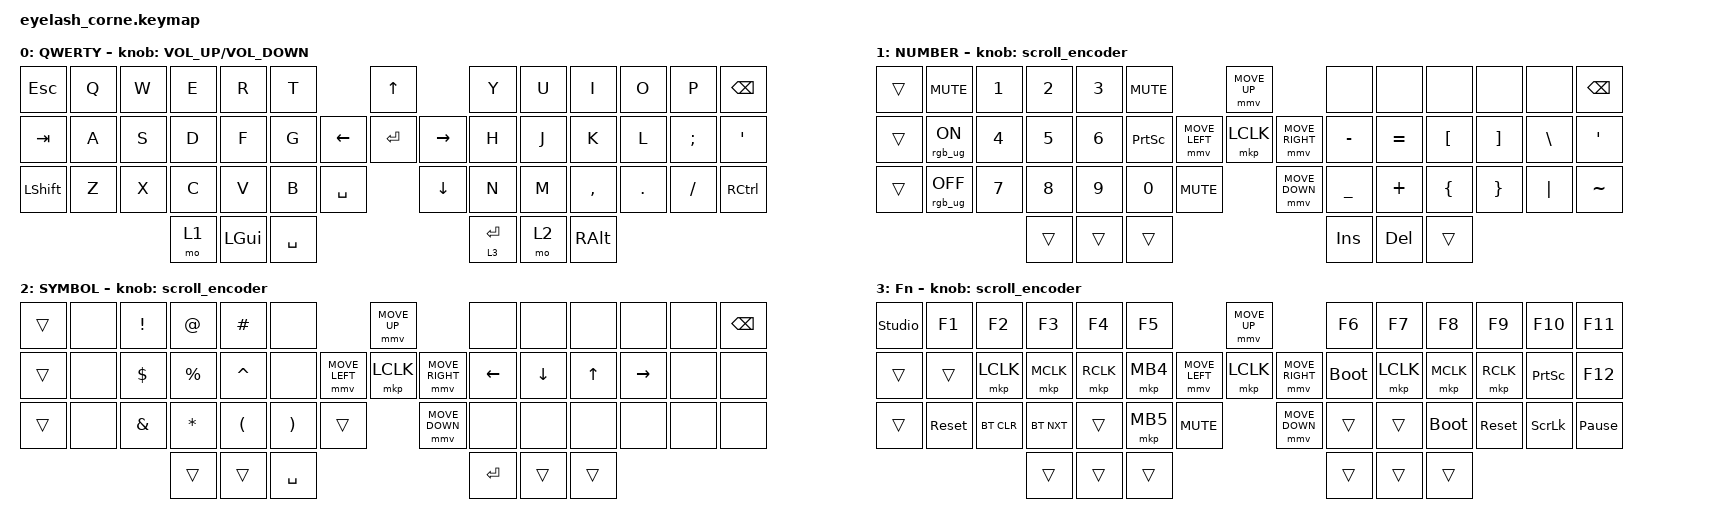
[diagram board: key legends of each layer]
#define ZMK_POINTING_DEFAULT_MOVE_VAL 1200  // 600
#define ZMK_POINTING_DEFAULT_SCRL_VAL 25   // 10

#include <input/processors.dtsi>
#include <zephyr/dt-bindings/input/input-event-codes.h>
#include <behaviors.dtsi>
#include <dt-bindings/zmk/bt.h>
#include <dt-bindings/zmk/keys.h>
#include <dt-bindings/zmk/pointing.h>
#include <dt-bindings/zmk/rgb.h>

&mmv_input_listener { input-processors = <&zip_xy_scaler 2 1>; };

&msc_input_listener { input-processors = <&zip_scroll_scaler 2 1>; };

&msc {
    acceleration-exponent = <1>;      // 0
    time-to-max-speed-ms = <100>;       // 300
    delay-ms = <0>;                   // 0
};

&mmv {
    time-to-max-speed-ms = <500>;
    acceleration-exponent = <1>;
    trigger-period-ms = <16>;
};

&soft_off { hold-time-ms = <2000>; };

/ {
    behaviors {
        td0: td0 {
            compatible = "zmk,behavior-tap-dance";
            display-name = "Shift/Caps Lock Tap Dance";
            #binding-cells = <0>;
            bindings = <&kp LEFT_SHIFT>, <&kp CAPS>;
        };
    };

    rgb_encoder: rgb_encoder {
        compatible = "zmk,behavior-sensor-rotate";
        #sensor-binding-cells = <0>;
        bindings = <&rgb_ug RGB_BRI>, <&rgb_ug RGB_BRD>;
    };

    scroll_encoder: scroll_encoder {
        compatible = "zmk,behavior-sensor-rotate";
        #sensor-binding-cells = <0>;
        bindings = <&msc SCRL_DOWN>, <&msc SCRL_UP>;

        tap-ms = <100>;
    };

    combos {
        compatible = "zmk,combos";

        softoff {
            bindings = <&soft_off>;
            key-positions = <1 15 29>;
        };
    };

    keymap {
        compatible = "zmk,keymap";

        default_layer {
            display-name = "QWERTY";
            bindings = <
&kp ESC         &kp Q  &kp W  &kp E  &kp R         &kp T                             &kp UP                &kp Y        &kp U  &kp I      &kp O    &kp P     &kp BSPC
&kp TAB         &kp A  &kp S  &kp D  &kp F         &kp G                   &kp LEFT  &kp ENTER  &kp RIGHT  &kp H        &kp J  &kp K      &kp L    &kp SEMI  &kp SQT
&kp LEFT_SHIFT  &kp Z  &kp X  &kp C  &kp V         &kp B      &kp SPACE              &kp DOWN              &kp N        &kp M  &kp COMMA  &kp DOT  &kp FSLH  &kp RIGHT_CONTROL
                              &mo 1  &kp LEFT_GUI  &kp SPACE                                               &lt 3 ENTER  &mo 2  &kp RALT
            >;

            sensor-bindings = <&inc_dec_kp C_VOLUME_UP C_VOLUME_DOWN>;
        };

        lower_layer {
            display-name = "NUMBER";
            bindings = <
&trans  &kp C_MUTE       &kp N1  &kp N2  &kp N3  &kp C_MUTE                                     &mmv MOVE_UP                     &none      &none      &none             &none              &none          &kp BSPC
&trans  &rgb_ug RGB_ON   &kp N4  &kp N5  &kp N6  &kp PRINTSCREEN                &mmv MOVE_LEFT  &mkp LCLK       &mmv MOVE_RIGHT  &kp MINUS  &kp EQUAL  &kp LEFT_BRACKET  &kp RIGHT_BRACKET  &kp BACKSLASH  &kp SINGLE_QUOTE
&trans  &rgb_ug RGB_OFF  &kp N7  &kp N8  &kp N9  &kp N0           &kp C_MUTE                    &mmv MOVE_DOWN                   &kp UNDER  &kp PLUS   &kp LEFT_BRACE    &kp RIGHT_BRACE    &kp PIPE       &kp TILDE
                                 &trans  &trans  &trans                                                                          &kp INS    &kp DEL    &trans
            >;

            sensor-bindings = <&scroll_encoder>;
        };

        raise_layer {
            display-name = "SYMBOL";
            bindings = <
&trans  &none  &kp EXCL  &kp AT       &kp HASH              &none                                            &mmv MOVE_UP                     &none           &none           &none         &none            &none  &kp BSPC
&trans  &none  &kp DLLR  &kp PERCENT  &kp CARET             &none                            &mmv MOVE_LEFT  &mkp LCLK       &mmv MOVE_RIGHT  &kp LEFT_ARROW  &kp DOWN_ARROW  &kp UP_ARROW  &kp RIGHT_ARROW  &none  &none
&trans  &none  &kp AMPS  &kp ASTRK    &kp LEFT_PARENTHESIS  &kp RIGHT_PARENTHESIS  &trans                    &mmv MOVE_DOWN                   &none           &none           &none         &none            &none  &none
                         &trans       &trans                &kp SPACE                                                                         &kp RET         &trans          &trans
            >;

            sensor-bindings = <&scroll_encoder>;
        };

        layer_3 {
            display-name = "Fn";
            bindings = <
&studio_unlock  &kp F1      &kp F2      &kp F3      &kp F4     &kp F5                                  &mmv MOVE_UP                     &kp F6       &kp F7     &kp F8       &kp F9      &kp F10          &kp F11
&trans          &trans      &mkp LCLK   &mkp MCLK   &mkp RCLK  &mkp MB4                &mmv MOVE_LEFT  &mkp LCLK       &mmv MOVE_RIGHT  &bootloader  &mkp LCLK  &mkp MCLK    &mkp RCLK   &kp PRINTSCREEN  &kp F12
&trans          &sys_reset  &bt BT_CLR  &bt BT_NXT  &trans     &mkp MB5  &kp C_MUTE                    &mmv MOVE_DOWN                   &trans       &trans     &bootloader  &sys_reset  &kp SCROLLLOCK   &kp PAUSE_BREAK
                                        &trans      &trans     &trans                                                                   &trans       &trans     &trans
            >;

            sensor-bindings = <&scroll_encoder>;
        };
    };
};
